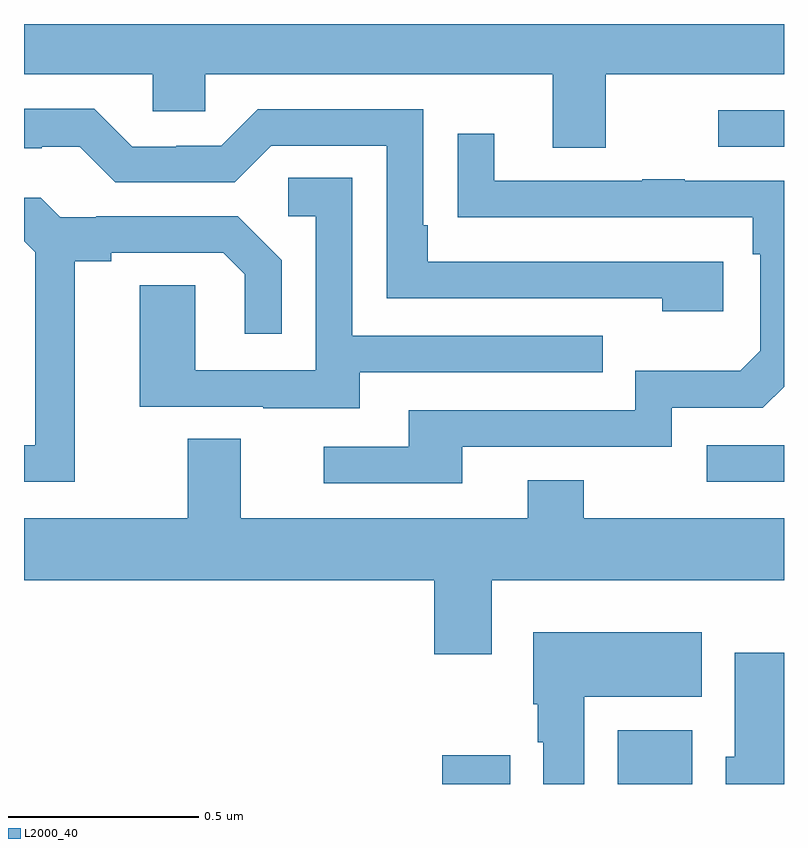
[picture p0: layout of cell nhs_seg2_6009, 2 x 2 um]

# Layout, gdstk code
import gdstk
lib = gdstk.Library(unit=1e-6, precision=1e-09)
def R(c, l, rs):  # rectangles x0, y0, x1, y1
    for r in rs: c.add(gdstk.rectangle(r[:2], r[2:], *l))
def P(c, l, *ps):  # polygons
    for p in ps: c.add(gdstk.Polygon(p, *l))
L2000_40 = (2000, 40)

nhs_seg2_6009 = lib.new_cell('nhs_seg2_6009')
R(nhs_seg2_6009, L2000_40, [(187.1,613.8,187.279,613.876), (187.562,613.8,187.759,613.942), (187.797,614.595,188,614.691), (187.827,615.477,188,615.573)])
P(nhs_seg2_6009, L2000_40, [(186,615.668),(186.339,615.668),(186.339,615.57),(186.477,615.57),(186.477,615.668),(187.391,615.668),(187.391,615.474),(187.531,615.474),(187.531,615.668),(188,615.668),(188,615.8),(186,615.8)],
  [(187.84,615.174),(187.063,615.174),(187.063,615.271),(187.05,615.271),(187.05,615.576),(186.615,615.576),(186.519,615.48),(186.401,615.48),(186.401,615.477),(186.285,615.477),(186.185,615.577),(186,615.577),(186,615.473),(186.047,615.473),(186.047,615.477),(186.147,615.477),(186.24,615.384),(186.555,615.384),(186.651,615.48),(186.954,615.48),(186.954,615.078),(187.679,615.078),(187.679,615.044),(187.84,615.044)],
  [(187.153,614.688),(187.704,614.688),(187.704,614.79),(187.944,614.79),(188,614.846),(188,615.387),(187.739,615.387),(187.739,615.392),(187.627,615.392),(187.627,615.387),(187.237,615.387),(187.237,615.511),(187.141,615.511),(187.141,615.292),(187.243,615.292),(187.243,615.291),(187.918,615.291),(187.918,615.194),(187.938,615.194),(187.938,614.94),(187.885,614.887),(187.608,614.887),(187.608,614.784),(187.013,614.784),(187.013,614.688),(186.789,614.688),(186.789,614.592),(187.153,614.592)],
  [(186.883,614.883),(187.523,614.883),(187.523,614.979),(186.864,614.979),(186.864,615.395),(186.696,615.395),(186.696,615.294),(186.768,615.294),(186.768,614.889),(186.45,614.889),(186.45,615.113),(186.305,615.113),(186.305,614.793),(186.629,614.793),(186.629,614.789),(186.883,614.789)],
  [(186.133,615.176),(186.229,615.176),(186.229,615.198),(186.524,615.198),(186.581,615.141),(186.581,614.985),(186.678,614.985),(186.678,615.178),(186.562,615.294),(186.19,615.294),(186.19,615.291),(186.096,615.291),(186.044,615.343),(186,615.343),(186,615.228),(186.029,615.199),(186.029,614.691),(186,614.691),(186,614.595),(186.133,614.595)],
  [(187.231,614.336),(188,614.336),(188,614.5),(187.473,614.5),(187.473,614.599),(187.325,614.599),(187.325,614.5),(186.571,614.5),(186.571,614.708),(186.431,614.708),(186.431,614.5),(186,614.5),(186,614.336),(187.079,614.336),(187.079,614.142),(187.231,614.142)],
  [(187.474,614.03),(187.783,614.03),(187.783,614.2),(187.34,614.2),(187.34,614.01),(187.352,614.01),(187.352,613.91),(187.367,613.91),(187.367,613.8),(187.474,613.8)],
  [(188,614.146),(187.871,614.146),(187.871,613.872),(187.847,613.872),(187.847,613.8),(188,613.8)])

lib.write_gds('nhs_seg2_6009.gds')
